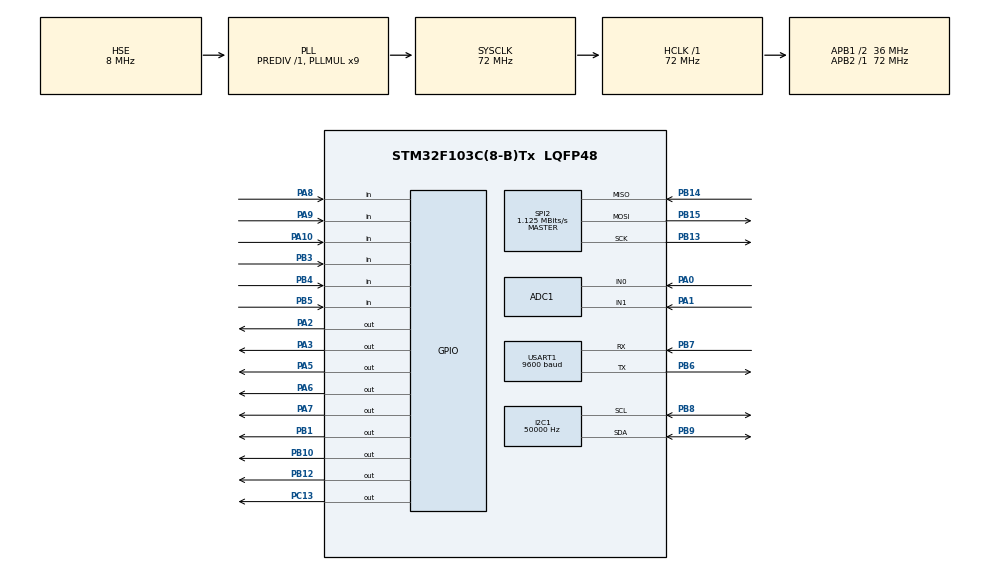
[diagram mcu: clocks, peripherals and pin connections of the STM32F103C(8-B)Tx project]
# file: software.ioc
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ADC1.Channel-1\#ChannelRegularConversion=ADC_CHANNEL_0
ADC1.Channel-2\#ChannelRegularConversion=ADC_CHANNEL_1
ADC1.ContinuousConvMode=DISABLE
ADC1.DiscontinuousConvMode=DISABLE
ADC1.NbrOfConversion=2
ADC1.NbrOfConversionFlag=1
ADC1.Rank-1\#ChannelRegularConversion=1
ADC1.Rank-2\#ChannelRegularConversion=2
ADC1.SamplingTime-1\#ChannelRegularConversion=ADC_SAMPLETIME_1CYCLE_5
ADC1.SamplingTime-2\#ChannelRegularConversion=ADC_SAMPLETIME_1CYCLE_5
ADC1.master=1
Dma.ADC1.0.Direction=DMA_PERIPH_TO_MEMORY
Dma.ADC1.0.Instance=DMA1_Channel1
Dma.ADC1.0.MemDataAlignment=DMA_MDATAALIGN_HALFWORD
Dma.ADC1.0.MemInc=DMA_MINC_ENABLE
Dma.ADC1.0.Mode=DMA_NORMAL
Dma.ADC1.0.PeriphDataAlignment=DMA_PDATAALIGN_HALFWORD
Dma.ADC1.0.PeriphInc=DMA_PINC_DISABLE
Dma.ADC1.0.Priority=DMA_PRIORITY_LOW
Dma.Request0=ADC1
FREERTOS.INCLUDE_vTaskPrioritySet=1
FREERTOS.Tasks01=defaultTask,0,128,StartDefaultTask,Default,NULL,Dynamic,NULL,NULL
FREERTOS.configMAX_TASK_NAME_LEN=60
FREERTOS.configMINIMAL_STACK_SIZE=64
FREERTOS.configTOTAL_HEAP_SIZE=14288
FREERTOS.configUSE_NEWLIB_REENTRANT=1
I2C1.ClockSpeed=50000
Mcu.Family=STM32F1
Mcu.Name=STM32F103C(8-B)Tx
Mcu.Package=LQFP48
NVIC.DMA1_Channel1_IRQn=true\:5\:0\:false\:false\:true\:true\:false\:true
NVIC.PriorityGroup=NVIC_PRIORITYGROUP_4
NVIC.TIM1_UP_IRQn=true\:15\:0\:false\:false\:true\:false\:false\:true
NVIC.TimeBase=TIM1_UP_IRQn
NVIC.TimeBaseIP=TIM1
NVIC.USART1_IRQn=true\:5\:0\:false\:false\:true\:true\:true\:true
PA0-WKUP.Signal=ADCx_IN0
PA1.Signal=ADCx_IN1
PA10.GPIO_PuPd=GPIO_PULLDOWN
PA10.Signal=GPIO_Input
PA13.Mode=Serial_Wire
PA13.Signal=SYS_JTMS-SWDIO
PA14.Mode=Serial_Wire
PA14.Signal=SYS_JTCK-SWCLK
PA2.Signal=GPIO_Output
PA3.Signal=GPIO_Output
PA5.Signal=GPIO_Output
PA6.Signal=GPIO_Output
PA7.PinState=GPIO_PIN_SET
PA7.Signal=GPIO_Output
PA8.Signal=GPIO_Input
PA9.Signal=GPIO_Input
PB1.Signal=GPIO_Output
PB10.PinState=GPIO_PIN_SET
PB10.Signal=GPIO_Output
PB12.PinState=GPIO_PIN_SET
PB12.Signal=GPIO_Output
PB13.Mode=Full_Duplex_Master
PB13.Signal=SPI2_SCK
PB14.Mode=Full_Duplex_Master
PB14.Signal=SPI2_MISO
PB15.Mode=Full_Duplex_Master
PB15.Signal=SPI2_MOSI
PB3.GPIO_PuPd=GPIO_PULLDOWN
PB3.Signal=GPIO_Input
PB4.GPIO_PuPd=GPIO_PULLDOWN
PB4.Signal=GPIO_Input
PB5.GPIO_PuPd=GPIO_PULLDOWN
PB5.Signal=GPIO_Input
PB6.Mode=Asynchronous
PB6.Signal=USART1_TX
PB7.Mode=Asynchronous
PB7.Signal=USART1_RX
PB8.Mode=I2C
PB8.Signal=I2C1_SCL
PB9.Mode=I2C
PB9.Signal=I2C1_SDA
PC13-TAMPER-RTC.PinState=GPIO_PIN_SET
PC13-TAMPER-RTC.Signal=GPIO_Output
PD0-OSC_IN.Mode=HSE-External-Oscillator
PD0-OSC_IN.Signal=RCC_OSC_IN
PD1-OSC_OUT.Mode=HSE-External-Oscillator
PD1-OSC_OUT.Signal=RCC_OSC_OUT
ProjectManager.HeapSize=0x200
ProjectManager.StackSize=0x400
ProjectManager.TargetToolchain=STM32CubeIDE
RCC.ADCPresc=RCC_ADCPCLK2_DIV6
RCC.AHBFreq_Value=72000000
RCC.APB1CLKDivider=RCC_HCLK_DIV2
RCC.APB1Freq_Value=36000000
RCC.APB1TimFreq_Value=72000000
RCC.APB2Freq_Value=72000000
RCC.APB2TimFreq_Value=72000000
RCC.HCLKFreq_Value=72000000
RCC.HSE_Timout=400
RCC.PLLMUL=RCC_PLL_MUL9
RCC.PLLSourceVirtual=RCC_PLLSOURCE_HSE
RCC.SYSCLKFreq_VALUE=72000000
RCC.SYSCLKSource=RCC_SYSCLKSOURCE_PLLCLK
RCC.USBFreq_Value=72000000
SH.ADCx_IN0.0=ADC1_IN0,IN0
SH.ADCx_IN1.0=ADC1_IN1,IN1
SPI2.BaudRatePrescaler=SPI_BAUDRATEPRESCALER_32
SPI2.CalculateBaudRate=1.125 MBits/s
SPI2.Direction=SPI_DIRECTION_2LINES
SPI2.Mode=SPI_MODE_MASTER
SPI2.VirtualType=VM_MASTER
USART1.BaudRate=9600
USART1.Parity=PARITY_NONE
USART1.VirtualMode=VM_ASYNC
USART1.WordLength=WORDLENGTH_8B
VP_FREERTOS_VS_CMSIS_V1.Mode=CMSIS_V1
VP_RTC_VS_RTC_Activate.Mode=RTC_Enabled
VP_SYS_VS_tim1.Mode=TIM1
board=custom

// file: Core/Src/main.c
/* USER CODE BEGIN Header */
/**
  ******************************************************************************
  * @file           : main.c
  * @brief          : Main program body
  ******************************************************************************
  * @attention
  *
  * <h2><center>&copy; Copyright (c) 2021 STMicroelectronics.
  * All rights reserved.</center></h2>
  *
  * This software component is licensed by ST under BSD 3-Clause license,
  * the "License"; You may not use this file except in compliance with the
  * License. You may obtain a copy of the License at:
  *                        opensource.org/licenses/BSD-3-Clause
  *
  ******************************************************************************
  */
/* USER CODE END Header */
#include "main.h"
#include "cmsis_os.h"

/* USER CODE BEGIN Includes */
#include <string.h>
#include <stdio.h>
#include "task.h"
#include "semphr.h"
#include "queue.h"

/* USER CODE END Includes */

ADC_HandleTypeDef hadc1;
DMA_HandleTypeDef hdma_adc1;

I2C_HandleTypeDef hi2c1;

RTC_HandleTypeDef hrtc;

SPI_HandleTypeDef hspi2;

UART_HandleTypeDef huart1;

osThreadId defaultTaskHandle;

void SystemClock_Config(void);
static void MX_GPIO_Init(void);
static void MX_DMA_Init(void);
static void MX_ADC1_Init(void);
static void MX_RTC_Init(void);
static void MX_USART1_UART_Init(void);
static void MX_I2C1_Init(void);
static void MX_SPI2_Init(void);
void StartDefaultTask(void const * argument);

/* USER CODE BEGIN PFP */
xSemaphoreHandle sem_state;
xSemaphoreHandle sem_clave;
xSemaphoreHandle sem_DMA;
xSemaphoreHandle sem_eeprom;

uint8_t clave_ok = 0;
uint8_t rfid_internal_state = WORKING_STATE; //ADDING_CARD_STATE;

uint16_t datos_adc_1[N_SAMPLES];
uint16_t datos_adc_2[N_SAMPLES];
uint16_t *datos_adc_dma, *datos_adc_uso;
medidas adc_buffer;
/* USER CODE END PFP */

int main(void)
{

  /* MCU Configuration--------------------------------------------------------*/

  /* Reset of all peripherals, Initializes the Flash interface and the Systick. */
  HAL_Init();

  /* Configure the system clock */
  SystemClock_Config();

  /* USER CODE BEGIN SysInit */
  HAL_NVIC_SetPriorityGrouping( NVIC_PRIORITYGROUP_4 );

  /* USER CODE END SysInit */

  /* Initialize all configured peripherals */
  MX_GPIO_Init();
  MX_DMA_Init();
  MX_ADC1_Init();
  MX_RTC_Init();
  MX_USART1_UART_Init();
  MX_I2C1_Init();
  MX_SPI2_Init();
  /* USER CODE BEGIN 2 */
  HAL_Delay(100);
  MFRC522_Init(&hspi2, SPI_NSS_GPIO_Port, SPI_NSS_Pin);
  led_init();
  init_teclado();
  init_eeprom(&hi2c1);
  rtc_init();
  lcd_init (&hi2c1);
  adc_init (&hadc1);
  serieFreeRTOS_inicializar(&huart1, 64);

  /* USER CODE END 2 */

  /* USER CODE BEGIN RTOS_MUTEX */
  /* add mutexes, ... */
  sem_state = xSemaphoreCreateMutex();
  sem_clave = xSemaphoreCreateMutex();
  sem_eeprom = xSemaphoreCreateMutex();
  sem_DMA = xSemaphoreCreateBinary();
  xSemaphoreTake(sem_DMA,0);
  /* USER CODE END RTOS_MUTEX */

  /* Create the thread(s) */
  /* definition and creation of defaultTask */
  osThreadDef(defaultTask, StartDefaultTask, osPriorityNormal, 0, 128);
  defaultTaskHandle = osThreadCreate(osThread(defaultTask), NULL);

  /* USER CODE BEGIN RTOS_THREADS */
  /* add threads, ... */
    if(xTaskCreate(checkear_teclado,
			  "checkear_teclado",
  			  configMINIMAL_STACK_SIZE,
			  NULL,
			  1,
			  NULL)!= pdPASS) Error_Handler();
    if(xTaskCreate(detectar_sensores,
  			  "detectar_sensores",
  			  configMINIMAL_STACK_SIZE,
  			  NULL,
  			  1,
  			  NULL)!= pdPASS) Error_Handler();
    if(xTaskCreate(lcd_update,
  			  "lcd_update",
  			  configMINIMAL_STACK_SIZE*4,
  			  NULL,
  			  1,
  			  NULL)!= pdPASS) Error_Handler();
    if(xTaskCreate(detectar_rfid,
			  "detectar_rfid",
  			  configMINIMAL_STACK_SIZE*4,
			  NULL,
			  1,
			  NULL)!= pdPASS) Error_Handler();
    if(xTaskCreate(tarea_conversiones,
  			  "tarea_conversiones",
  			  configMINIMAL_STACK_SIZE,
  			  NULL,
  			  1,
  			  NULL)!= pdPASS) Error_Handler();
    if(xTaskCreate(checkear_power_supply,
  			  "checkear_power_supply",
  			  configMINIMAL_STACK_SIZE,
  			  NULL,
  			  2,
  			  NULL)!= pdPASS) Error_Handler();
    if(xTaskCreate(tarea_serie,
			  "tarea_serie",
			  configMINIMAL_STACK_SIZE*4,
			  NULL,
			  3,
			  NULL)!= pdPASS) Error_Handler();

  /* USER CODE END RTOS_THREADS */

  /* Start scheduler */
  osKernelStart();

  /* We should never get here as control is now taken by the scheduler */
  /* Infinite loop */
  while (1)
  {

  }
}

void SystemClock_Config(void)
{
  RCC_OscInitTypeDef RCC_OscInitStruct = {0};
  RCC_ClkInitTypeDef RCC_ClkInitStruct = {0};
  RCC_PeriphCLKInitTypeDef PeriphClkInit = {0};

  /** Initializes the RCC Oscillators according to the specified parameters
  * in the RCC_OscInitTypeDef structure.
  */
  RCC_OscInitStruct.OscillatorType = RCC_OSCILLATORTYPE_LSI|RCC_OSCILLATORTYPE_HSE;
  RCC_OscInitStruct.HSEState = RCC_HSE_ON;
  RCC_OscInitStruct.HSEPredivValue = RCC_HSE_PREDIV_DIV1;
  RCC_OscInitStruct.HSIState = RCC_HSI_ON;
  RCC_OscInitStruct.LSIState = RCC_LSI_ON;
  RCC_OscInitStruct.PLL.PLLState = RCC_PLL_ON;
  RCC_OscInitStruct.PLL.PLLSource = RCC_PLLSOURCE_HSE;
  RCC_OscInitStruct.PLL.PLLMUL = RCC_PLL_MUL9;
  if (HAL_RCC_OscConfig(&RCC_OscInitStruct) != HAL_OK)
  {
    Error_Handler();
  }
  /** Initializes the CPU, AHB and APB buses clocks
  */
  RCC_ClkInitStruct.ClockType = RCC_CLOCKTYPE_HCLK|RCC_CLOCKTYPE_SYSCLK
                              |RCC_CLOCKTYPE_PCLK1|RCC_CLOCKTYPE_PCLK2;
  RCC_ClkInitStruct.SYSCLKSource = RCC_SYSCLKSOURCE_PLLCLK;
  RCC_ClkInitStruct.AHBCLKDivider = RCC_SYSCLK_DIV1;
  RCC_ClkInitStruct.APB1CLKDivider = RCC_HCLK_DIV2;
  RCC_ClkInitStruct.APB2CLKDivider = RCC_HCLK_DIV1;

  if (HAL_RCC_ClockConfig(&RCC_ClkInitStruct, FLASH_LATENCY_2) != HAL_OK)
  {
    Error_Handler();
  }
  PeriphClkInit.PeriphClockSelection = RCC_PERIPHCLK_RTC|RCC_PERIPHCLK_ADC;
  PeriphClkInit.RTCClockSelection = RCC_RTCCLKSOURCE_LSI;
  PeriphClkInit.AdcClockSelection = RCC_ADCPCLK2_DIV6;
  if (HAL_RCCEx_PeriphCLKConfig(&PeriphClkInit) != HAL_OK)
  {
    Error_Handler();
  }
}

static void MX_ADC1_Init(void)
{

  ADC_ChannelConfTypeDef sConfig = {0};

  /** Common config
  */
  hadc1.Instance = ADC1;
  hadc1.Init.ScanConvMode = ADC_SCAN_ENABLE;
  hadc1.Init.ContinuousConvMode = DISABLE;
  hadc1.Init.DiscontinuousConvMode = DISABLE;
  hadc1.Init.ExternalTrigConv = ADC_SOFTWARE_START;
  hadc1.Init.DataAlign = ADC_DATAALIGN_RIGHT;
  hadc1.Init.NbrOfConversion = 2;
  if (HAL_ADC_Init(&hadc1) != HAL_OK)
  {
    Error_Handler();
  }
  /** Configure Regular Channel
  */
  sConfig.Channel = ADC_CHANNEL_0;
  sConfig.Rank = ADC_REGULAR_RANK_1;
  sConfig.SamplingTime = ADC_SAMPLETIME_1CYCLE_5;
  if (HAL_ADC_ConfigChannel(&hadc1, &sConfig) != HAL_OK)
  {
    Error_Handler();
  }
  /** Configure Regular Channel
  */
  sConfig.Channel = ADC_CHANNEL_1;
  sConfig.Rank = ADC_REGULAR_RANK_2;
  if (HAL_ADC_ConfigChannel(&hadc1, &sConfig) != HAL_OK)
  {
    Error_Handler();
  }

}

static void MX_I2C1_Init(void)
{

  hi2c1.Instance = I2C1;
  hi2c1.Init.ClockSpeed = 50000;
  hi2c1.Init.DutyCycle = I2C_DUTYCYCLE_2;
  hi2c1.Init.OwnAddress1 = 0;
  hi2c1.Init.AddressingMode = I2C_ADDRESSINGMODE_7BIT;
  hi2c1.Init.DualAddressMode = I2C_DUALADDRESS_DISABLE;
  hi2c1.Init.OwnAddress2 = 0;
  hi2c1.Init.GeneralCallMode = I2C_GENERALCALL_DISABLE;
  hi2c1.Init.NoStretchMode = I2C_NOSTRETCH_DISABLE;
  if (HAL_I2C_Init(&hi2c1) != HAL_OK)
  {
    Error_Handler();
  }

}

static void MX_RTC_Init(void)
{

  /** Initialize RTC Only
  */
  hrtc.Instance = RTC;
  hrtc.Init.AsynchPrediv = RTC_AUTO_1_SECOND;
  hrtc.Init.OutPut = RTC_OUTPUTSOURCE_ALARM;
  if (HAL_RTC_Init(&hrtc) != HAL_OK)
  {
    Error_Handler();
  }

}

static void MX_SPI2_Init(void)
{

  /* SPI2 parameter configuration*/
  hspi2.Instance = SPI2;
  hspi2.Init.Mode = SPI_MODE_MASTER;
  hspi2.Init.Direction = SPI_DIRECTION_2LINES;
  hspi2.Init.DataSize = SPI_DATASIZE_8BIT;
  hspi2.Init.CLKPolarity = SPI_POLARITY_LOW;
  hspi2.Init.CLKPhase = SPI_PHASE_1EDGE;
  hspi2.Init.NSS = SPI_NSS_SOFT;
  hspi2.Init.BaudRatePrescaler = SPI_BAUDRATEPRESCALER_32;
  hspi2.Init.FirstBit = SPI_FIRSTBIT_MSB;
  hspi2.Init.TIMode = SPI_TIMODE_DISABLE;
  hspi2.Init.CRCCalculation = SPI_CRCCALCULATION_DISABLE;
  hspi2.Init.CRCPolynomial = 10;
  if (HAL_SPI_Init(&hspi2) != HAL_OK)
  {
    Error_Handler();
  }

}

static void MX_USART1_UART_Init(void)
{

  huart1.Instance = USART1;
  huart1.Init.BaudRate = 9600;
  huart1.Init.WordLength = UART_WORDLENGTH_8B;
  huart1.Init.StopBits = UART_STOPBITS_1;
  huart1.Init.Parity = UART_PARITY_NONE;
  huart1.Init.Mode = UART_MODE_TX_RX;
  huart1.Init.HwFlowCtl = UART_HWCONTROL_NONE;
  huart1.Init.OverSampling = UART_OVERSAMPLING_16;
  if (HAL_UART_Init(&huart1) != HAL_OK)
  {
    Error_Handler();
  }

}

static void MX_DMA_Init(void)
{

  /* DMA controller clock enable */
  __HAL_RCC_DMA1_CLK_ENABLE();

  /* DMA interrupt init */
  /* DMA1_Channel1_IRQn interrupt configuration */
  HAL_NVIC_SetPriority(DMA1_Channel1_IRQn, 5, 0);
  HAL_NVIC_EnableIRQ(DMA1_Channel1_IRQn);

}

static void MX_GPIO_Init(void)
{
  GPIO_InitTypeDef GPIO_InitStruct = {0};

  /* GPIO Ports Clock Enable */
  __HAL_RCC_GPIOC_CLK_ENABLE();
  __HAL_RCC_GPIOD_CLK_ENABLE();
  __HAL_RCC_GPIOA_CLK_ENABLE();
  __HAL_RCC_GPIOB_CLK_ENABLE();

  /*Configure GPIO pin Output Level */
  HAL_GPIO_WritePin(GPIOC, GPIO_PIN_13, GPIO_PIN_SET);

  /*Configure GPIO pin Output Level */
  HAL_GPIO_WritePin(GPIOA, GPIO_PIN_2|GPIO_PIN_3|GPIO_PIN_5|GPIO_PIN_6, GPIO_PIN_RESET);

  /*Configure GPIO pin Output Level */
  HAL_GPIO_WritePin(GPIOA, GPIO_PIN_7, GPIO_PIN_SET);

  /*Configure GPIO pin Output Level */
  HAL_GPIO_WritePin(GPIOB, GPIO_PIN_1, GPIO_PIN_RESET);

  /*Configure GPIO pin Output Level */
  HAL_GPIO_WritePin(GPIOB, GPIO_PIN_10|GPIO_PIN_12, GPIO_PIN_SET);

  /*Configure GPIO pin : PC13 */
  GPIO_InitStruct.Pin = GPIO_PIN_13;
  GPIO_InitStruct.Mode = GPIO_MODE_OUTPUT_PP;
  GPIO_InitStruct.Pull = GPIO_NOPULL;
  GPIO_InitStruct.Speed = GPIO_SPEED_FREQ_LOW;
  HAL_GPIO_Init(GPIOC, &GPIO_InitStruct);

  /*Configure GPIO pins : PA2 PA3 PA5 PA6
                           PA7 */
  GPIO_InitStruct.Pin = GPIO_PIN_2|GPIO_PIN_3|GPIO_PIN_5|GPIO_PIN_6
                          |GPIO_PIN_7;
  GPIO_InitStruct.Mode = GPIO_MODE_OUTPUT_PP;
  GPIO_InitStruct.Pull = GPIO_NOPULL;
  GPIO_InitStruct.Speed = GPIO_SPEED_FREQ_LOW;
  HAL_GPIO_Init(GPIOA, &GPIO_InitStruct);

  /*Configure GPIO pins : PB1 PB10 PB12 */
  GPIO_InitStruct.Pin = GPIO_PIN_1|GPIO_PIN_10|GPIO_PIN_12;
  GPIO_InitStruct.Mode = GPIO_MODE_OUTPUT_PP;
  GPIO_InitStruct.Pull = GPIO_NOPULL;
  GPIO_InitStruct.Speed = GPIO_SPEED_FREQ_LOW;
  HAL_GPIO_Init(GPIOB, &GPIO_InitStruct);

  /*Configure GPIO pins : PA8 PA9 */
  GPIO_InitStruct.Pin = GPIO_PIN_8|GPIO_PIN_9;
  GPIO_InitStruct.Mode = GPIO_MODE_INPUT;
  GPIO_InitStruct.Pull = GPIO_NOPULL;
  HAL_GPIO_Init(GPIOA, &GPIO_InitStruct);

  /*Configure GPIO pin : PA10 */
  GPIO_InitStruct.Pin = GPIO_PIN_10;
  GPIO_InitStruct.Mode = GPIO_MODE_INPUT;
  GPIO_InitStruct.Pull = GPIO_PULLDOWN;
  HAL_GPIO_Init(GPIOA, &GPIO_InitStruct);

  /*Configure GPIO pins : PB3 PB4 PB5 */
  GPIO_InitStruct.Pin = GPIO_PIN_3|GPIO_PIN_4|GPIO_PIN_5;
  GPIO_InitStruct.Mode = GPIO_MODE_INPUT;
  GPIO_InitStruct.Pull = GPIO_PULLDOWN;
  HAL_GPIO_Init(GPIOB, &GPIO_InitStruct);

}

void StartDefaultTask(void const * argument)
{
  for(;;)
  {
    osDelay(1);
  }
}

void HAL_TIM_PeriodElapsedCallback(TIM_HandleTypeDef *htim)
{
  if (htim->Instance == TIM1) {
    HAL_IncTick();
  }
}

void Error_Handler(void)
{
  /* USER CODE BEGIN Error_Handler_Debug */
  /* User can add his own implementation to report the HAL error return state */
  __disable_irq();
  while (1)
  {
	  toggle_led(LED_2);
	  for(uint32_t i = 0; i < 200000; i++);
  }
  /* USER CODE END Error_Handler_Debug */
}

/************************ (C) COPYRIGHT STMicroelectronics *****END OF FILE****/
